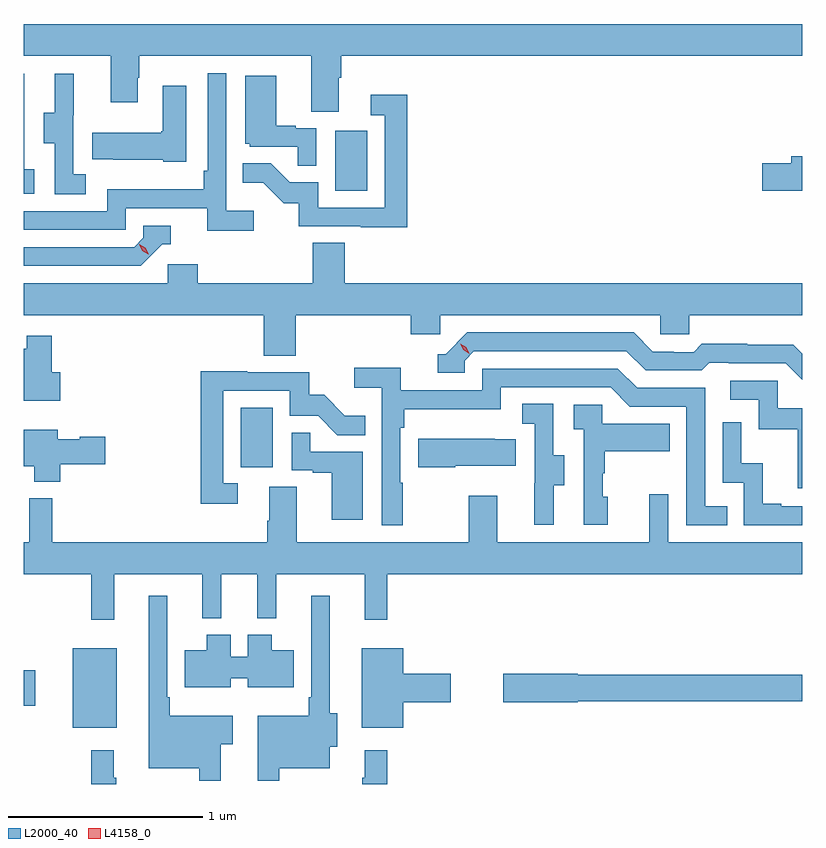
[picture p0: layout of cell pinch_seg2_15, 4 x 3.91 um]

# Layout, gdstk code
import gdstk
lib = gdstk.Library(unit=1e-6, precision=1e-09)
def R(c, l, rs):  # rectangles x0, y0, x1, y1
    for r in rs: c.add(gdstk.rectangle(r[:2], r[2:], *l))
def P(c, l, *ps):  # polygons
    for p in ps: c.add(gdstk.Polygon(p, *l))
L2000_40 = (2000, 40)
L4158_0 = (4158, 0)

pinch_seg2_15 = lib.new_cell('pinch_seg2_15')
R(pinch_seg2_15, L2000_40, [(1089.53,658.835,1089.757,659.245), (1089.279,658.949,1089.337,659.132), (1090.394,660.174,1090.558,660.481), (1090.88,661.596,1091.044,661.903)])
P(pinch_seg2_15, L2000_40, [(1090.897,662.176),(1090.91,662.176),(1090.91,662.288),(1093.279,662.288),(1093.279,662.452),(1089.279,662.452),(1089.279,662.288),(1089.725,662.288),(1089.725,662.049),(1089.865,662.049),(1089.865,662.177),(1089.873,662.177),(1089.873,662.288),(1090.757,662.288),(1090.757,662.002),(1090.897,662.002)],
  [(1090.462,661.492),(1090.32,661.492),(1090.32,662.2),(1090.224,662.2),(1090.224,661.699),(1090.204,661.699),(1090.204,661.603),(1089.708,661.603),(1089.708,661.491),(1089.279,661.491),(1089.279,661.395),(1089.804,661.395),(1089.804,661.506),(1090.223,661.506),(1090.223,661.39),(1090.462,661.39)],
  [(1089.598,661.679),(1089.534,661.679),(1089.534,661.983),(1089.536,661.983),(1089.536,662.197),(1089.437,662.197),(1089.437,661.995),(1089.383,661.995),(1089.383,661.84),(1089.438,661.84),(1089.438,661.576),(1089.598,661.576)],
  [(1089.334,661.706),(1089.282,661.706),(1089.282,662.197),(1089.279,662.197),(1089.279,661.581),(1089.334,661.581)],
  [(1090.782,661.917),(1090.676,661.917),(1090.676,661.93),(1090.576,661.93),(1090.576,662.185),(1090.418,662.185),(1090.418,661.836),(1090.44,661.836),(1090.44,661.821),(1090.687,661.821),(1090.687,661.723),(1090.782,661.723)],
  [(1090.114,662.134),(1089.992,662.134),(1089.992,661.902),(1089.985,661.902),(1089.985,661.894),(1089.631,661.894),(1089.631,661.757),(1089.739,661.757),(1089.739,661.754),(1089.996,661.754),(1089.996,661.745),(1090.114,661.745)],
  [(1091.249,662.089),(1091.061,662.089),(1091.061,661.983),(1091.133,661.983),(1091.133,661.509),(1090.791,661.509),(1090.791,661.638),(1090.647,661.638),(1090.549,661.736),(1090.405,661.736),(1090.405,661.637),(1090.509,661.637),(1090.616,661.53),(1090.693,661.53),(1090.693,661.413),(1091.011,661.413),(1091.011,661.408),(1091.249,661.408)],
  [(1093.279,661.772),(1093.223,661.772),(1093.223,661.736),(1093.074,661.736),(1093.074,661.594),(1093.279,661.594)],
  [(1089.99,661.32),(1090.033,661.32),(1090.033,661.416),(1089.894,661.416),(1089.894,661.353),(1089.846,661.305),(1089.279,661.305),(1089.279,661.209),(1089.879,661.209)],
  [(1090.928,661.328),(1090.763,661.328),(1090.763,661.12),(1090.172,661.12),(1090.172,661.218),(1090.02,661.218),(1090.02,661.12),(1089.279,661.12),(1089.279,660.956),(1090.511,660.956),(1090.511,660.748),(1090.676,660.748),(1090.676,660.956),(1091.267,660.956),(1091.267,660.858),(1091.418,660.858),(1091.418,660.956),(1092.549,660.956),(1092.549,660.858),(1092.699,660.858),(1092.699,660.956),(1093.279,660.956),(1093.279,661.12),(1090.928,661.12)],
  [(1093.279,660.758),(1093.232,660.805),(1092.996,660.805),(1092.996,660.808),(1092.763,660.808),(1092.721,660.765),(1092.618,660.765),(1092.618,660.768),(1092.511,660.768),(1092.412,660.867),(1091.559,660.867),(1091.448,660.756),(1091.405,660.756),(1091.405,660.66),(1091.544,660.66),(1091.544,660.723),(1091.592,660.771),(1092.375,660.771),(1092.474,660.672),(1092.763,660.672),(1092.802,660.711),(1092.901,660.711),(1092.901,660.708),(1093.194,660.708),(1093.279,660.623)],
  [(1089.466,660.663),(1089.422,660.663),(1089.422,660.85),(1089.294,660.85),(1089.294,660.784),(1089.279,660.784),(1089.279,660.515),(1089.466,660.515)],
  [(1091.227,660.095),(1091.214,660.095),(1091.214,660.377),(1091.234,660.377),(1091.234,660.473),(1091.73,660.473),(1091.73,660.585),(1092.294,660.585),(1092.393,660.486),(1092.684,660.486),(1092.684,659.877),(1092.893,659.877),(1092.893,659.973),(1092.78,659.973),(1092.78,660.582),(1092.43,660.582),(1092.331,660.681),(1091.634,660.681),(1091.634,660.57),(1091.216,660.57),(1091.216,660.686),(1090.977,660.686),(1090.977,660.584),(1091.118,660.584),(1091.118,659.877),(1091.227,659.877)],
  [(1090.378,660.093),(1090.305,660.093),(1090.305,660.567),(1090.647,660.567),(1090.647,660.438),(1090.791,660.438),(1090.889,660.34),(1091.033,660.34),(1091.033,660.439),(1090.929,660.439),(1090.822,660.546),(1090.746,660.546),(1090.746,660.663),(1090.427,660.663),(1090.427,660.668),(1090.189,660.668),(1090.189,659.988),(1090.378,659.988)],
  [(1093.279,660.477),(1093.152,660.477),(1093.152,660.618),(1092.909,660.618),(1092.909,660.522),(1093.056,660.522),(1093.056,660.369),(1093.255,660.369),(1093.255,660.066),(1093.279,660.066)],
  [(1092.001,660.082),(1092.055,660.082),(1092.055,660.237),(1092,660.237),(1092,660.5),(1091.841,660.5),(1091.841,660.397),(1091.904,660.397),(1091.904,660.093),(1091.903,660.093),(1091.903,659.88),(1092.001,659.88)],
  [(1092.28,660.024),(1092.255,660.024),(1092.255,660.143),(1092.265,660.143),(1092.265,660.257),(1092.599,660.257),(1092.599,660.397),(1092.252,660.397),(1092.252,660.495),(1092.105,660.495),(1092.105,660.371),(1092.156,660.371),(1092.156,659.88),(1092.28,659.88)],
  [(1093.279,659.973),(1093.171,659.973),(1093.171,659.986),(1093.076,659.986),(1093.076,660.194),(1092.966,660.194),(1092.966,660.406),(1092.87,660.406),(1092.87,660.096),(1092.978,660.096),(1092.978,659.877),(1093.279,659.877)],
  [(1089.467,660.19),(1089.697,660.19),(1089.697,660.332),(1089.567,660.332),(1089.567,660.319),(1089.454,660.319),(1089.454,660.367),(1089.279,660.367),(1089.279,660.179),(1089.332,660.179),(1089.332,660.101),(1089.467,660.101)],
  [(1091.02,660.255),(1090.751,660.255),(1090.751,660.353),(1090.656,660.353),(1090.656,660.159),(1090.763,660.159),(1090.763,660.147),(1090.862,660.147),(1090.862,659.904),(1091.02,659.904)],
  [(1091.497,660.182),(1091.807,660.182),(1091.807,660.319),(1091.699,660.319),(1091.699,660.322),(1091.306,660.322),(1091.306,660.175),(1091.497,660.175)],
  [(1089.743,659.624),(1090.196,659.624),(1090.196,659.399),(1090.295,659.399),(1090.295,659.624),(1090.478,659.624),(1090.478,659.399),(1090.577,659.399),(1090.577,659.624),(1091.03,659.624),(1091.03,659.391),(1091.147,659.391),(1091.147,659.624),(1093.279,659.624),(1093.279,659.788),(1092.591,659.788),(1092.591,660.037),(1092.494,660.037),(1092.494,659.788),(1091.713,659.788),(1091.713,660.028),(1091.566,660.028),(1091.566,659.788),(1090.681,659.788),(1090.681,660.074),(1090.541,660.074),(1090.541,659.9),(1090.529,659.9),(1090.529,659.788),(1089.425,659.788),(1089.425,660.016),(1089.308,660.016),(1089.308,659.788),(1089.279,659.788),(1089.279,659.624),(1089.625,659.624),(1089.625,659.391),(1089.743,659.391)],
  [(1090.292,658.75),(1090.354,658.75),(1090.354,658.897),(1090.03,658.897),(1090.03,658.993),(1090.017,658.993),(1090.017,659.515),(1089.92,659.515),(1089.92,658.628),(1090.182,658.628),(1090.182,658.563),(1090.292,658.563)],
  [(1090.591,658.628),(1090.852,658.628),(1090.852,658.739),(1090.891,658.739),(1090.891,658.91),(1090.852,658.91),(1090.852,659.515),(1090.755,659.515),(1090.755,658.993),(1090.743,658.993),(1090.743,658.897),(1090.482,658.897),(1090.482,658.563),(1090.591,658.563)],
  [(1090.342,659.09),(1090.43,659.09),(1090.43,659.045),(1090.666,659.045),(1090.666,659.233),(1090.552,659.233),(1090.552,659.314),(1090.43,659.314),(1090.43,659.2),(1090.342,659.2),(1090.342,659.314),(1090.22,659.314),(1090.22,659.233),(1090.106,659.233),(1090.106,659.045),(1090.342,659.045)],
  [(1091.23,658.967),(1091.473,658.967),(1091.473,659.114),(1091.23,659.114),(1091.23,659.245),(1091.015,659.245),(1091.015,658.835),(1091.23,658.835)],
  [(1092.126,658.972),(1093.279,658.972),(1093.279,659.108),(1092.126,659.108),(1092.126,659.114),(1091.742,659.114),(1091.742,658.967),(1092.126,658.967)],
  [(1091.147,658.72),(1091.03,658.72),(1091.03,658.58),(1091.019,658.58),(1091.019,658.547),(1091.147,658.547)],
  [(1089.754,658.58),(1089.742,658.58),(1089.742,658.72),(1089.625,658.72),(1089.625,658.547),(1089.754,658.547)])
P(pinch_seg2_15, L4158_0, [(1091.568,660.757),(1091.537,660.777),(1091.521,660.809),(1091.521,660.809),(1091.521,660.809),(1091.552,660.79),(1091.568,660.758),(1091.568,660.757)],
  [(1089.919,661.269),(1089.888,661.288),(1089.872,661.321),(1089.872,661.321),(1089.872,661.321),(1089.903,661.302),(1089.92,661.269),(1089.92,661.269)])

lib.write_gds('pinch_seg2_15.gds')
